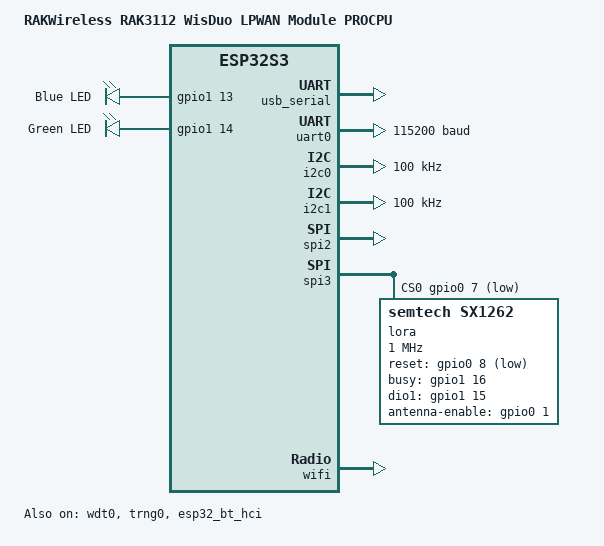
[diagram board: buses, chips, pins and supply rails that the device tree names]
/*
 * Copyright (c) 2025 RAKwireless Technology Co., Ltd. <www.rakwireless.com>
 * Sercan Erat <sercanerat@gmail.com>
 * SPDX-License-Identifier: Apache-2.0
 */

/dts-v1/;

#include <espressif/esp32s3/esp32s3_wroom_n16.dtsi>
#include <espressif/partitions_0x0_amp.dtsi>
#include <zephyr/dt-bindings/input/input-event-codes.h>
#include "rak3112-pinctrl.dtsi"
#include <zephyr/dt-bindings/lora/sx126x.h>

/ {
	model = "RAKWireless RAK3112 WisDuo LPWAN Module PROCPU";
	compatible = "rak,rak3112";

	chosen {
		zephyr,sram = &sram1;
		zephyr,console = &usb_serial;
		zephyr,shell-uart = &usb_serial;
		zephyr,flash = &flash0;
		zephyr,code-partition = &slot0_partition;
		zephyr,bt-hci = &esp32_bt_hci;
	};

	aliases {
		led0 = &blue_led;
		led1 = &green_led;
		watchdog0 = &wdt0;
		lora0 = &lora;
		bootloader-led0 = &blue_led;
		mcuboot-led0 = &blue_led;
	};

	leds {
		compatible = "gpio-leds";
		blue_led: led_0 {
			gpios = <&gpio1 13 GPIO_ACTIVE_HIGH>; /* G45 */
			label = "Blue LED";
		};
		green_led: led_1 {
			gpios = <&gpio1 14 GPIO_ACTIVE_HIGH>; /* G46 */
			label = "Green LED";
		};
	};
};

&usb_serial {
	status = "okay";
};

&uart0 {
	status = "okay";
	pinctrl-0 = <&uart0_default>;
	pinctrl-names = "default";
	current-speed = <115200>;
};

&uart1 {
	status = "disabled";
};

&gpio0 {
	status = "okay";
};

&gpio1 {
	status = "okay";
};

&i2c0 {
	status = "okay";
	pinctrl-0 = <&i2c0_default>;
	pinctrl-names = "default";
	clock-frequency = <I2C_BITRATE_STANDARD>;
};

&i2c1 {
	status = "okay";
	pinctrl-0 = <&i2c1_default>;
	pinctrl-names = "default";
	clock-frequency = <I2C_BITRATE_STANDARD>;
};

&i2s0 {
	status = "disabled";
};

&i2s1 {
	status = "disabled";
};

&spi2 {
	status = "okay";
	#address-cells = <1>;
	#size-cells = <0>;
	pinctrl-0 = <&spim2_default>;
	pinctrl-names = "default";
};

&spi3 {
	status = "okay";
	#address-cells = <1>;
	#size-cells = <0>;
	pinctrl-0 = <&spim3_default>;
	pinctrl-names = "default";
	cs-gpios = <&gpio0 7 GPIO_ACTIVE_LOW>;

	lora: lora@0 {
		compatible = "semtech,sx1262";
		reg = <0>;
		reset-gpios = <&gpio0 8 GPIO_ACTIVE_LOW>;
		busy-gpios = <&gpio1 16 GPIO_ACTIVE_HIGH>;
		dio1-gpios = <&gpio1 15 GPIO_ACTIVE_HIGH>;
		antenna-enable-gpios = <&gpio0 1 GPIO_ACTIVE_HIGH>;
		dio2-tx-enable;
		dio3-tcxo-voltage = <SX126X_DIO3_TCXO_1V8>;
		tcxo-power-startup-delay-ms = <5>;
		spi-max-frequency = <DT_FREQ_M(1)>;
	};
};

&twai {
	status = "disabled";
	pinctrl-0 = <&twai_default>;
	pinctrl-names = "default";
};

&timer0 {
	status = "disabled";
};

&timer1 {
	status = "disabled";
};

&timer2 {
	status = "disabled";
};

&timer3 {
	status = "disabled";
};

&wdt0 {
	status = "okay";
};

&trng0 {
	status = "okay";
};

&esp32_bt_hci {
	status = "okay";
};

&wifi {
	status = "okay";
};
